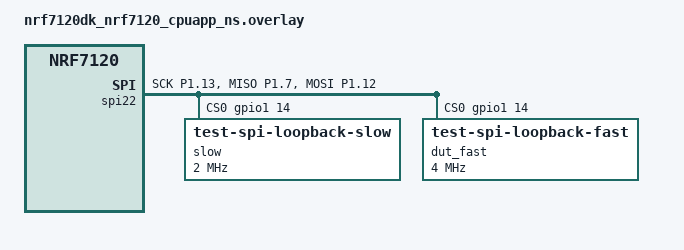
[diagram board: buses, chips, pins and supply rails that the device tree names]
/*
 * Copyright (c) 2026 Nordic Semiconductor ASA
 *
 * SPDX-License-Identifier: Apache-2.0
 */

#include <nrf7120dk_nrf7120_common.dtsi>

/* SERIAL21 is the TF-M secure UART in non-secure builds, use SPIM22 instead. */
&spi21 {
	status = "disabled";
	/delete-node/ slow@0;
	/delete-node/ fast@0;
};

&pinctrl {
	spi22_default: spi22_default {
		group1 {
			psels = <NRF_PSEL(SPIM_SCK, 1, 13)>,
				<NRF_PSEL(SPIM_MISO, 1, 7)>,
				<NRF_PSEL(SPIM_MOSI, 1, 12)>;
			low-power-enable;
		};
	};

	spi22_sleep: spi22_sleep {
		group1 {
			psels = <NRF_PSEL(SPIM_SCK, 1, 13)>,
				<NRF_PSEL(SPIM_MISO, 1, 7)>,
				<NRF_PSEL(SPIM_MOSI, 1, 12)>;
			low-power-enable;
		};
	};
};

&spi22 {
	pinctrl-0 = <&spi22_default>;
	pinctrl-1 = <&spi22_sleep>;
	pinctrl-names = "default", "sleep";
	overrun-character = <0x00>;
	cs-gpios = <&gpio1 14 0>;
	zephyr,pm-device-runtime-auto;
	status = "okay";

	slow@0 {
		compatible = "test-spi-loopback-slow";
		reg = <0>;
		spi-max-frequency = <DT_FREQ_M(2)>;
	};

	dut_fast: fast@0 {
		compatible = "test-spi-loopback-fast";
		reg = <0>;
		spi-max-frequency = <DT_FREQ_M(4)>;
	};
};
